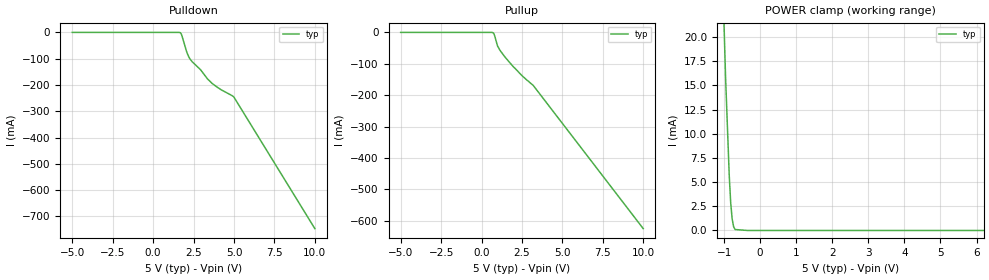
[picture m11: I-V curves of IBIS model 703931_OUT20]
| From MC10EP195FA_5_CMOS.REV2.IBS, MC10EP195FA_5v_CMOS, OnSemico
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| (C) COPYRIGHT 1993-2001
| MENTOR GRAPHICS CORPORATION
| ICX STANDARD LIBRARY, ICX PROJECT MODELING,
| ICX CUSTOM MODELING, ICX VENDOR MODEL
| ALL RIGHTS RESERVED.
| THE FOLLOWING ARE TRADEMARKS OR SERVICE MARKS OF
| MENTOR GRAPHICS CORPORATION:ICX (R), ICX STANDARD
| LIBRARY(R), ICX PROJECT MODELING(R), ICX CUSTOM
| MODELING(R), qualityIBIS(TM), MODELVIEWER(TM),
| AND MODELEDITOR(TM)
| ALL COPIES OF SOFTWARE, INCLUDING BUT NOT LIMITED TO
| ANY MODIFICATIONS, ENHANCEMENTS OR DERIVATIVE WORKS,
| MUST CONTAIN ALL MENTOR GRAPHICS CORPORATION'S
| NOTICES AND LEGENDS, INCLUDING THOSE EMBEDDED IN
| SOFTWARE AND THOSE AFFIXED TO SOFTWARE MEDIUM
| AND CONTAINER, AS RECEIVED FROM MENTOR GRAPHICS
| CORPORATION.
| Model Application Version 1.89 2/18/99.
[Model] 703931_OUT20
Model_type Output_ECL
Vref=3.000V
Rref=50.00ohms
Cref=5.000pF
Vmeas=3.655V
C_comp 8.000pF NA NA
| variable typ   min   max
[Voltage Range] 5.000V NA NA
[POWER Clamp Reference] 5.000V NA NA
[Pullup Reference] 5.000V NA NA
[Pulldown Reference] 5.000V NA NA
[GND Clamp Reference] 0.000V NA NA
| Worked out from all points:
|   POWER clamp passes 1 mA (typ) near -0.77 V on its own axis
[GND Clamp]
-5V       0A         NA         NA
10V       0A         NA         NA
[Pulldown]
-5V       0A         NA         NA
1.696V    -2.1mA     NA         NA
1.777V    -12.1mA    NA         NA
2.142V    -84.8mA    NA         NA
2.243V    -97.8mA    NA         NA
2.405V    -111.1mA   NA         NA
2.933V    -142.2mA   NA         NA
3.359V    -176.9mA   NA         NA
3.662V    -195mA     NA         NA
4.23V     -219.2mA   NA         NA
4.98V     -244.8mA   NA         NA
10V       -746.8mA   NA         NA
[Pullup]
-5V       0A         NA         NA
602mV     0A         NA         NA
743mV     -2.4mA     NA         NA
804mV     -9.2mA     NA         NA
987mV     -42.7mA    NA         NA
1.129V    -56.1mA    NA         NA
1.331V    -70.4mA    NA         NA
2V        -111.4mA   NA         NA
2.487V    -137.1mA   NA         NA
3.196V    -168.9mA   NA         NA
10V       -625.5mA   NA         NA
[POWER Clamp]
-5V       639.6mA    NA         NA
-1.041V   26.2mA     NA         NA
-960mV    15.9mA     NA         NA
-858mV    5.7mA      NA         NA
-818mV    2.9mA      NA         NA
-777mV    1.2mA      NA         NA
-737mV    400uA      NA         NA
-696mV    100uA      NA         NA
-348mV    0A         NA         NA
10V       0A         NA         NA
[Ramp]
| variable typ min max
dV/dt_r 220.9m/209.0p NA NA
dV/dt_f 220.9m/180.5p NA NA
R_load = 50.00Ohms
